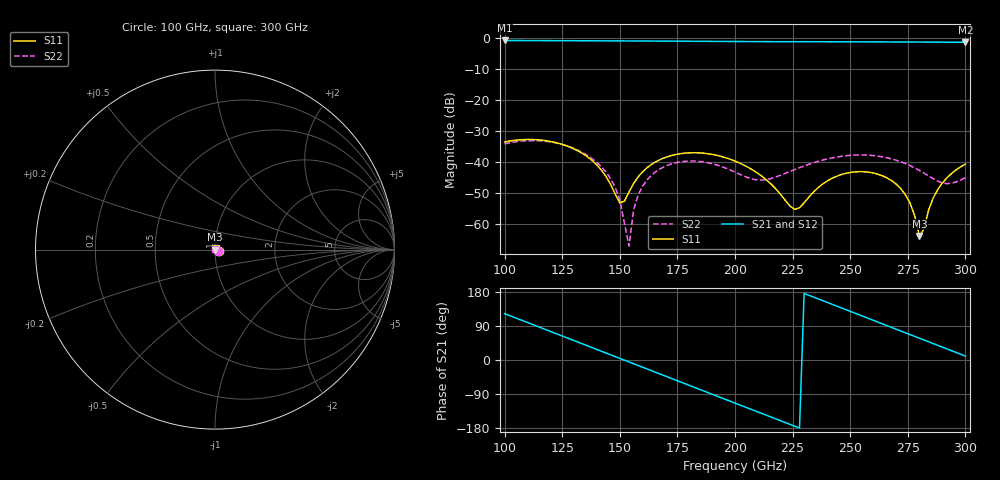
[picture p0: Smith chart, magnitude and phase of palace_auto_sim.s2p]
#  GHZ S DB R 50
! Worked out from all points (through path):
!   101 points, 100 GHz to 300 GHz, reference 50 ohm
!   highest |S21| = -0.92 dB at 100 GHz (marker M1); lowest = -1.5 dB at 300 GHz (marker M2)
!   group delay of S21, straight-line fit = 6.55 ps
!   lowest |S11| = -63.9 dB at 280 GHz (marker M3), VSWR 1.00, Z = 50 - j0.0409 ohm
!   |S11| at or under -10 dB: start of sweep to end of sweep
!   |S22| runs from -67.2 to -33.2 dB; largest |S21 - S12| = 1e-13
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100  -33.63 -18.8  -0.92 122.3  -0.92 122.3  -34.28 -16.1
116  -33.04 -51.6  -0.97 84.6  -0.97 84.6  -33.29 -50.9
134  -37.44 -88.9  -1.02 42.1  -1.02 42.1  -37.11 -92.6
142  -42.69 -100.1  -1.04 23.2  -1.04 23.2  -41.61 -111.0
148  -50.44 -86.7  -1.06 9.0  -1.06 9.0  -48.24 -123.4
150  -53.28 -60.7  -1.06 4.3  -1.06 4.3  -52.31 -126.1
154  -49.74 -5.0  -1.08 -5.2  -1.08 -5.2  -67.22 8.1
156  -47.01 2.3  -1.08 -9.9  -1.08 -9.9  -55.39 26.9
158  -44.86 4.1  -1.09 -14.6  -1.09 -14.6  -50.63 25.5
168  -39.14 -8.6  -1.13 -38.3  -1.13 -38.3  -42.08 5.5
184  -37.13 -41.6  -1.19 -76.0  -1.19 -76.0  -39.87 -26.8
200  -39.79 -72.4  -1.25 -113.7  -1.25 -113.7  -43.35 -42.3
212  -44.86 -86.7  -1.29 -141.9  -1.29 -141.9  -45.90 -20.2
226  -55.36 -41.6  -1.32 -174.9  -1.32 -174.9  -42.50 -1.4
234  -49.82 4.5  -1.33 166.2  -1.33 166.2  -40.36 -5.5
250  -43.47 -13.6  -1.35 128.4  -1.35 128.4  -37.94 -31.2
268  -46.12 -57.5  -1.40 85.8  -1.40 85.8  -39.10 -77.2
276  -53.36 -85.9  -1.42 66.9  -1.42 66.9  -41.26 -104.7
280  -63.89 -140.2  -1.44 57.5  -1.44 57.5  -42.79 -121.8
282  -61.80 136.0  -1.44 52.8  -1.44 52.8  -43.66 -131.7
288  -48.97 87.0  -1.46 38.6  -1.46 38.6  -46.25 -170.2
300  -40.76 50.1  -1.50 10.4  -1.50 10.4  -45.15 96.1
